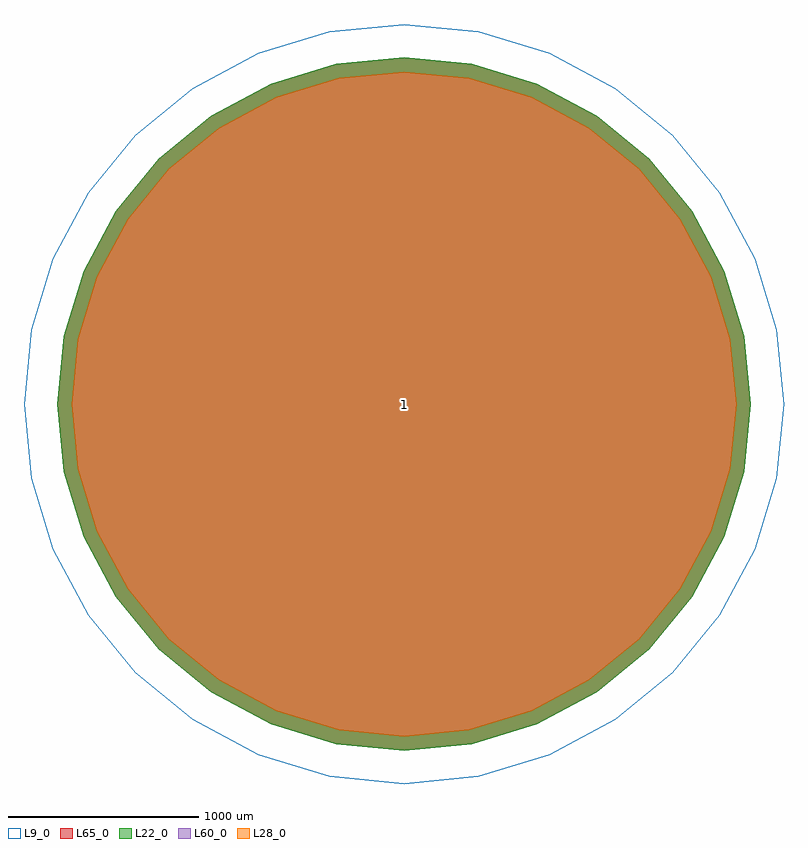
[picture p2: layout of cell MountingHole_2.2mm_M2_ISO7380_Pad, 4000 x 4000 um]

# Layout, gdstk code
import gdstk
lib = gdstk.Library(unit=1e-6, precision=1e-09)
def P(c, l, *ps):  # polygons
    for p in ps: c.add(gdstk.Polygon(p, *l))
L9_0 = (9, 0)
L22_0 = (22, 0)
L28_0 = (28, 0)
L60_0 = (60, 0)
L65_0 = (65, 0)

mountinghole_2_2mm_m2_is = lib.new_cell('MountingHole_2.2mm_M2_ISO7380_Pad')
P(mountinghole_2_2mm_m2_is, L9_0, [(2000,0),(1961.571,390.181),(1847.759,765.367),(1662.939,1111.14),(1414.214,1414.214),(1111.14,1662.939),(765.367,1847.759),(390.181,1961.571),(0,2000),(-390.181,1961.571),(-765.367,1847.759),(-1111.14,1662.939),(-1414.214,1414.214),(-1662.939,1111.14),(-1847.759,765.367),(-1961.571,390.181),(-2000,0),(-1961.571,-390.181),(-1847.759,-765.367),(-1662.939,-1111.14),(-1414.214,-1414.214),(-1111.14,-1662.939),(-765.367,-1847.759),(-390.181,-1961.571),(0,-2000),(390.181,-1961.571),(765.367,-1847.759),(1111.14,-1662.939),(1414.214,-1414.214),(1662.939,-1111.14),(1847.759,-765.367),(1961.571,-390.181)],
  [(1750,0),(1716.374,341.408),(1616.789,669.696),(1455.072,972.248),(1237.437,1237.437),(972.248,1455.072),(669.696,1616.789),(341.408,1716.374),(0,1750),(-341.408,1716.374),(-669.696,1616.789),(-972.248,1455.072),(-1237.437,1237.437),(-1455.072,972.248),(-1616.789,669.696),(-1716.374,341.408),(-1750,0),(-1716.374,-341.408),(-1616.789,-669.696),(-1455.072,-972.248),(-1237.437,-1237.437),(-972.248,-1455.072),(-669.696,-1616.789),(-341.408,-1716.374),(0,-1750),(341.408,-1716.374),(669.696,-1616.789),(972.248,-1455.072),(1237.437,-1237.437),(1455.072,-972.248),(1616.789,-669.696),(1716.374,-341.408)])
P(mountinghole_2_2mm_m2_is, L22_0, [(1825,0),(1789.933,356.04),(1686.08,698.397),(1517.432,1013.916),(1290.47,1290.47),(1013.916,1517.432),(698.397,1686.08),(356.04,1789.933),(0,1825),(-356.04,1789.933),(-698.397,1686.08),(-1013.916,1517.432),(-1290.47,1290.47),(-1517.432,1013.916),(-1686.08,698.397),(-1789.933,356.04),(-1825,0),(-1789.933,-356.04),(-1686.08,-698.397),(-1517.432,-1013.916),(-1290.47,-1290.47),(-1013.916,-1517.432),(-698.397,-1686.08),(-356.04,-1789.933),(0,-1825),(356.04,-1789.933),(698.397,-1686.08),(1013.916,-1517.432),(1290.47,-1290.47),(1517.432,-1013.916),(1686.08,-698.397),(1789.933,-356.04)])
P(mountinghole_2_2mm_m2_is, L28_0, [(1750,0),(1716.374,341.408),(1616.789,669.696),(1455.072,972.248),(1237.437,1237.437),(972.248,1455.072),(669.696,1616.789),(341.408,1716.374),(0,1750),(-341.408,1716.374),(-669.696,1616.789),(-972.248,1455.072),(-1237.437,1237.437),(-1455.072,972.248),(-1616.789,669.696),(-1716.374,341.408),(-1750,0),(-1716.374,-341.408),(-1616.789,-669.696),(-1455.072,-972.248),(-1237.437,-1237.437),(-972.248,-1455.072),(-669.696,-1616.789),(-341.408,-1716.374),(0,-1750),(341.408,-1716.374),(669.696,-1616.789),(972.248,-1455.072),(1237.437,-1237.437),(1455.072,-972.248),(1616.789,-669.696),(1716.374,-341.408)])
P(mountinghole_2_2mm_m2_is, L60_0, [(1750,0),(1716.374,341.408),(1616.789,669.696),(1455.072,972.248),(1237.437,1237.437),(972.248,1455.072),(669.696,1616.789),(341.408,1716.374),(0,1750),(-341.408,1716.374),(-669.696,1616.789),(-972.248,1455.072),(-1237.437,1237.437),(-1455.072,972.248),(-1616.789,669.696),(-1716.374,341.408),(-1750,0),(-1716.374,-341.408),(-1616.789,-669.696),(-1455.072,-972.248),(-1237.437,-1237.437),(-972.248,-1455.072),(-669.696,-1616.789),(-341.408,-1716.374),(0,-1750),(341.408,-1716.374),(669.696,-1616.789),(972.248,-1455.072),(1237.437,-1237.437),(1455.072,-972.248),(1616.789,-669.696),(1716.374,-341.408)])
P(mountinghole_2_2mm_m2_is, L65_0, [(1825,0),(1789.933,356.04),(1686.08,698.397),(1517.432,1013.916),(1290.47,1290.47),(1013.916,1517.432),(698.397,1686.08),(356.04,1789.933),(0,1825),(-356.04,1789.933),(-698.397,1686.08),(-1013.916,1517.432),(-1290.47,1290.47),(-1517.432,1013.916),(-1686.08,698.397),(-1789.933,356.04),(-1825,0),(-1789.933,-356.04),(-1686.08,-698.397),(-1517.432,-1013.916),(-1290.47,-1290.47),(-1013.916,-1517.432),(-698.397,-1686.08),(-356.04,-1789.933),(0,-1825),(356.04,-1789.933),(698.397,-1686.08),(1013.916,-1517.432),(1290.47,-1290.47),(1517.432,-1013.916),(1686.08,-698.397),(1789.933,-356.04)])
mountinghole_2_2mm_m2_is.add(gdstk.Label('1', (0,0), layer=28, texttype=0))
mountinghole_2_2mm_m2_is.add(gdstk.Label('type', (0,-2750), layer=9, texttype=0))
mountinghole_2_2mm_m2_is.add(gdstk.Label('devicename', (0,2750), layer=9, texttype=0))

lib.write_gds('MountingHole_2.2mm_M2_ISO7380_Pad.gds')
